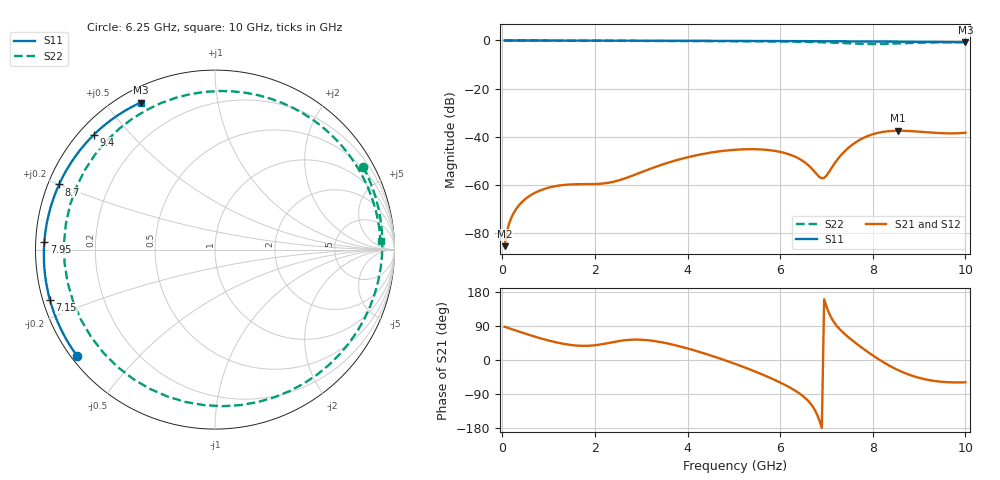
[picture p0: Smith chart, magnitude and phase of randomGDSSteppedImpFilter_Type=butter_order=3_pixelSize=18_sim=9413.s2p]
! freq	dB(S11)	phase(S11)	dB(S12)	phase(S12)
!  dB(S21)	phase(S21)	dB(S22)	phase(S22)
!S-par simulation data
#  GHz  S  DB  R 50
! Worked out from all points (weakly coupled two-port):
!   200 points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, 50 MHz to 10 GHz, reference 50 ohm
!   highest |S21| = -37.49 dB at 8.55 GHz (marker M1); lowest = -85.4 dB at 50 MHz (marker M2)
!   lowest |S11| = -0.7 dB at 10 GHz (marker M3), VSWR 23.44, Z = 2.94 + j30.7 ohm
!   |S11| at or under -10 dB: nowhere
!   |S22| runs from -1.5 to 0.0 dB; largest |S21 - S12| = 0
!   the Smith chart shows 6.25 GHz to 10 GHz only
!   S11 on the Smith chart (normalised r, x): 6.25 GHz: 0.02, -0.34; 7.15 GHz: 0.02, -0.15; 7.95 GHz: 0.02, +0.02; 8.7 GHz: 0.03, +0.20; 9.4 GHz: 0.04, +0.40; 10 GHz: 0.06, +0.61
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0.05  -0.00 -1.2  -85.41 87.7  -85.41 87.7  -0.00 -3.0
0.3  -0.01 -7.4  -69.95 77.4  -69.95 77.4  -0.02 -18.0
0.6  -0.02 -14.6  -64.41 65.5  -64.41 65.5  -0.05 -35.6
1.2  -0.04 -29.1  -60.31 45.6  -60.31 45.6  -0.09 -69.6
1.75  -0.05 -42.2  -59.66 37.3  -59.66 37.3  -0.12 -98.8
2.6  -0.08 -62.0  -57.58 51.4  -57.58 51.4  -0.15 -140.5
3.4  -0.11 -80.1  -51.88 47.7  -51.88 47.7  -0.19 -177.6
4.2  -0.14 -97.7  -47.64 23.4  -47.64 23.4  -0.23 145.2
5.05  -0.18 -116.2  -45.35 -11.2  -45.35 -11.2  -0.30 102.6
5.65  -0.22 -129.3  -45.33 -40.0  -45.33 -40.0  -0.37 68.7
6.25  -0.26 -142.5  -47.67 -75.4  -47.67 -75.4  -0.48 29.2
6.7  -0.30 -152.6  -53.57 -122.2  -53.57 -122.2  -0.64 -6.4
6.9  -0.32 -157.2  -57.24 -179.3  -57.24 -179.3  -0.75 -24.8
7.15  -0.34 -163.1  -51.78 102.1  -51.78 102.1  -0.92 -50.8
7.55  -0.38 -172.7  -43.41 52.5  -43.41 52.5  -1.26 -100.8
7.95  -0.43 177.4  -39.25 16.3  -39.25 16.3  -1.50 -159.9
8.35  -0.48 166.9  -37.66 -14.4  -37.66 -14.4  -1.38 141.6
8.55  -0.50 161.5  -37.49 -26.9  -37.49 -26.9  -1.25 116.1
8.7  -0.52 157.3  -37.53 -34.8  -37.53 -34.8  -1.14 99.0
9  -0.57 148.7  -37.87 -47.0  -37.87 -47.0  -0.95 69.5
9.4  -0.63 136.6  -38.41 -56.4  -38.41 -56.4  -0.79 38.4
10  -0.74 116.9  -38.33 -58.9  -38.33 -58.9  -0.69 2.9
